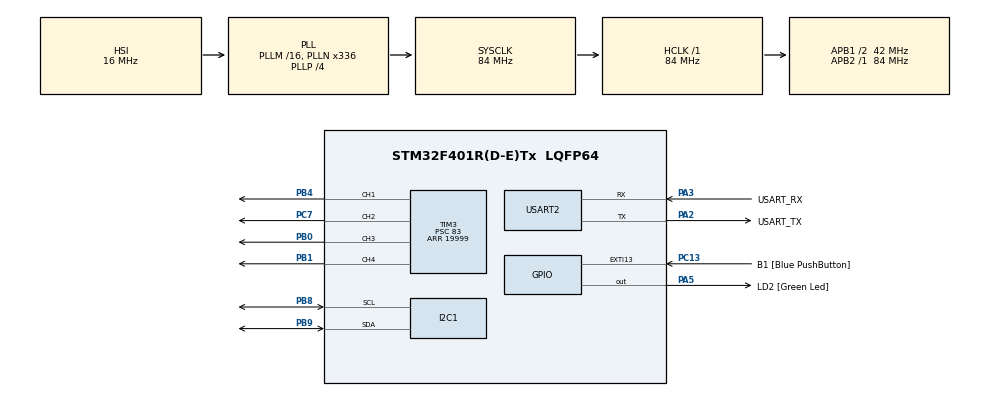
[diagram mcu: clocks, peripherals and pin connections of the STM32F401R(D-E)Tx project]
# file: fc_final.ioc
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Mcu.Family=STM32F4
Mcu.Name=STM32F401R(D-E)Tx
Mcu.Package=LQFP64
NVIC.PriorityGroup=NVIC_PRIORITYGROUP_4
PA13.GPIO_Label=TMS
PA13.Mode=Trace_Asynchronous_SW
PA13.Signal=SYS_JTMS-SWDIO
PA14.GPIO_Label=TCK
PA14.Mode=Trace_Asynchronous_SW
PA14.Signal=SYS_JTCK-SWCLK
PA2.GPIO_Label=USART_TX
PA2.GPIO_Mode=GPIO_MODE_AF_PP
PA2.GPIO_PuPd=GPIO_NOPULL
PA2.GPIO_Speed=GPIO_SPEED_FREQ_LOW
PA2.Mode=Asynchronous
PA2.Signal=USART2_TX
PA3.GPIO_Label=USART_RX
PA3.GPIO_Mode=GPIO_MODE_AF_PP
PA3.GPIO_PuPd=GPIO_NOPULL
PA3.GPIO_Speed=GPIO_SPEED_FREQ_LOW
PA3.Mode=Asynchronous
PA3.Signal=USART2_RX
PA5.GPIO_Label=LD2 [Green Led]
PA5.GPIO_Mode=GPIO_MODE_OUTPUT_PP
PA5.GPIO_PuPd=GPIO_NOPULL
PA5.GPIO_Speed=GPIO_SPEED_FREQ_LOW
PA5.Signal=GPIO_Output
PB0.Signal=S_TIM3_CH3
PB1.Signal=S_TIM3_CH4
PB3.GPIO_Label=SWO
PB3.Mode=Trace_Asynchronous_SW
PB3.Signal=SYS_JTDO-SWO
PB4.Signal=S_TIM3_CH1
PB8.Mode=I2C
PB8.Signal=I2C1_SCL
PB9.Mode=I2C
PB9.Signal=I2C1_SDA
PC13-ANTI_TAMP.GPIO_Label=B1 [Blue PushButton]
PC13-ANTI_TAMP.GPIO_ModeDefaultEXTI=GPIO_MODE_IT_FALLING
PC13-ANTI_TAMP.GPIO_PuPd=GPIO_NOPULL
PC13-ANTI_TAMP.Signal=GPXTI13
PC14-OSC32_IN.Mode=LSE-External-Oscillator
PC14-OSC32_IN.Signal=RCC_OSC32_IN
PC15-OSC32_OUT.Mode=LSE-External-Oscillator
PC15-OSC32_OUT.Signal=RCC_OSC32_OUT
PC7.Signal=S_TIM3_CH2
PH0\ -\ OSC_IN.Mode=HSE-External-Clock-Source
PH0\ -\ OSC_IN.Signal=RCC_OSC_IN
PH1\ -\ OSC_OUT.Mode=HSE-External-Clock-Source
PH1\ -\ OSC_OUT.Signal=RCC_OSC_OUT
ProjectManager.HeapSize=0x200
ProjectManager.StackSize=0x400
ProjectManager.TargetToolchain=STM32CubeIDE
RCC.48MHZClocksFreq_Value=48000000
RCC.AHBFreq_Value=84000000
RCC.APB1CLKDivider=RCC_HCLK_DIV2
RCC.APB1Freq_Value=42000000
RCC.APB1TimFreq_Value=84000000
RCC.APB2Freq_Value=84000000
RCC.APB2TimFreq_Value=84000000
RCC.CortexFreq_Value=84000000
RCC.HCLKFreq_Value=84000000
RCC.HSE_VALUE=8000000
RCC.HSI_VALUE=16000000
RCC.PLLN=336
RCC.PLLP=RCC_PLLP_DIV4
RCC.PLLQ=7
RCC.SYSCLKFreq_VALUE=84000000
RCC.SYSCLKSource=RCC_SYSCLKSOURCE_PLLCLK
RCC.VCOOutputFreq_Value=336000000
SH.S_TIM3_CH1.0=TIM3_CH1,PWM Generation1 CH1
SH.S_TIM3_CH2.0=TIM3_CH2,PWM Generation2 CH2
SH.S_TIM3_CH3.0=TIM3_CH3,PWM Generation3 CH3
SH.S_TIM3_CH4.0=TIM3_CH4,PWM Generation4 CH4
TIM3.Channel-PWM\ Generation1\ CH1=TIM_CHANNEL_1
TIM3.Channel-PWM\ Generation2\ CH2=TIM_CHANNEL_2
TIM3.Channel-PWM\ Generation3\ CH3=TIM_CHANNEL_3
TIM3.Channel-PWM\ Generation4\ CH4=TIM_CHANNEL_4
TIM3.Period=19999
TIM3.Prescaler=83
USART2.VirtualMode=VM_ASYNC
VP_TIM3_VS_ClockSourceINT.Mode=Internal
board=NUCLEO-F401RE

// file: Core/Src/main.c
/* USER CODE BEGIN Header */
/**
  ******************************************************************************
  * @file           : main.c
  * @brief          : Main program body
  ******************************************************************************
  * @attention
  *
  * Copyright (c) 2026 STMicroelectronics.
  * All rights reserved.
  *
  * This software is licensed under terms that can be found in the LICENSE file
  * in the root directory of this software component.
  * If no LICENSE file comes with this software, it is provided AS-IS.
  *
  ******************************************************************************
  */
/* USER CODE END Header */
#include "main.h"

/* USER CODE BEGIN Includes */
#include <stdio.h>
#include <string.h>
#include <math.h>
/* USER CODE END Includes */

/* USER CODE BEGIN PD */
/* LSM6DSO Registers */
#define LSM6DSO_REG_WHO_AM_I   0x0F
#define LSM6DSO_CHIP_ID        0x6C
#define LSM6DSO_REG_CTRL1_XL   0x10
#define LSM6DSO_REG_CTRL2_G    0x11
#define LSM6DSO_REG_CTRL3_C    0x12
#define LSM6DSO_REG_OUTX_L_G   0x22
#define LSM6DSO_REG_OUTX_L_A   0x28

/* BMP581 Registers */
#define BMP581_REG_CHIP_ID     0x01
#define BMP581_CHIP_ID         0x50
#define BMP581_REG_TEMP_DATA   0x1D
#define BMP581_REG_PRESS_DATA  0x20
#define BMP581_REG_OSR_CONFIG  0x36
#define BMP581_REG_ODR_CONFIG  0x37

/* BMM150 Registers */
#define BMM150_REG_CHIP_ID     0x40
#define BMM150_CHIP_ID         0x32
#define BMM150_REG_DATA_X_LSB  0x42
#define BMM150_REG_POWER       0x4B
#define BMM150_REG_OP_MODE     0x4C
#define BMM150_REG_REP_XY      0x51
#define BMM150_REG_REP_Z       0x52
/* USER CODE END PD */

I2C_HandleTypeDef hi2c1;

TIM_HandleTypeDef htim3;

UART_HandleTypeDef huart2;

/* USER CODE BEGIN PV */
/* LSM6DSO variables */
HAL_StatusTypeDef lsm6a_status;
HAL_StatusTypeDef lsm6b_status;
HAL_StatusTypeDef lsm_id_status;
uint8_t motors_armed = 0;
uint8_t lsm6dso_address = 0;
uint8_t lsm6dso_chip_id;

/* BMP581 variables */
HAL_StatusTypeDef bmp46_status;
HAL_StatusTypeDef bmp47_status;
HAL_StatusTypeDef bmp_id_status;
uint8_t bmp581_address;
uint8_t bmp581_chip_id;

/* BMM150 variables */
HAL_StatusTypeDef bmm10_status;
HAL_StatusTypeDef bmm11_status;
HAL_StatusTypeDef bmm12_status;
HAL_StatusTypeDef bmm13_status;
HAL_StatusTypeDef bmm_power_status;
HAL_StatusTypeDef bmm_id_status;
uint8_t bmm150_address;
uint8_t bmm150_chip_id;

/* Summary status */
uint8_t all_sensors_detected;

/* Live sensor measurement variables */
int16_t accel_raw_x, accel_raw_y, accel_raw_z;
int16_t gyro_raw_x, gyro_raw_y, gyro_raw_z;
int16_t mag_raw_x, mag_raw_y, mag_raw_z;

int32_t temp_raw;
uint32_t press_raw;
float press_hpa;
float temp_c;

/* UART Transmit buffer */
char uart_tx_buf[512];
/* USER CODE END PV */

void SystemClock_Config(void);
static void MX_GPIO_Init(void);
static void MX_I2C1_Init(void);
static void MX_TIM3_Init(void);
static void MX_USART2_UART_Init(void);

/* USER CODE BEGIN PFP */
void Motor_SetPWM(float m1, float m2, float m3, float m4);
void Motor_Mixer(float throttle,
                 float roll_output,
                 float pitch_output,
                 float yaw_output);
/* USER CODE END PFP */

/* USER CODE BEGIN 0 */
/* LSM6DSO registers */
#define LSM6DSO_WHO_AM_I      0x0F
#define LSM6DSO_CTRL1_XL      0x10
#define LSM6DSO_CTRL2_G       0x11
#define LSM6DSO_CTRL3_C       0x12

#define LSM6DSO_OUTX_L_G      0x22
#define LSM6DSO_OUTX_L_A      0x28

#define LSM6DSO_WHO_AM_I_VAL  0x6C

int16_t accel_x, accel_y, accel_z;
int16_t gyro_x, gyro_y, gyro_z;

float ax_g, ay_g, az_g;
float gx_dps, gy_dps, gz_dps;
float roll = 0.0f;
float pitch = 0.0f;

float accel_roll = 0.0f;
float accel_pitch = 0.0f;

uint32_t last_time = 0;
float dt = 0.0f;
PID_Controller roll_rate_pid =
{
    .Kp = 0.8f,
    .Ki = 0.0f,
    .Kd = 0.02f,
    .integral = 0.0f,
    .previous_error = 0.0f,
    .output = 0.0f,
    .integral_limit = 50.0f,
    .output_limit = 100.0f
};

PID_Controller pitch_rate_pid =
{
    .Kp = 0.8f,
    .Ki = 0.0f,
    .Kd = 0.02f,
    .integral = 0.0f,
    .previous_error = 0.0f,
    .output = 0.0f,
    .integral_limit = 50.0f,
    .output_limit = 100.0f
};

float desired_roll_rate = 0.0f;
float desired_pitch_rate = 0.0f;

float roll_rate_output = 0.0f;
float pitch_rate_output = 0.0f;
float throttle = 0.5f;

float yaw_output = 0.0f;

float motor1 = 0.0f;
float motor2 = 0.0f;
float motor3 = 0.0f;
float motor4 = 0.0f;

/* Find LSM6DSO */
uint8_t LSM6DSO_Detect(void)
{
    uint8_t who = 0;

    if (HAL_I2C_IsDeviceReady(&hi2c1, (0x6A << 1), 3, 100) == HAL_OK)
    {
        if (HAL_I2C_Mem_Read(&hi2c1,
                             (0x6A << 1),
                             LSM6DSO_WHO_AM_I,
                             I2C_MEMADD_SIZE_8BIT,
                             &who,
                             1,
                             100) == HAL_OK)
        {
            if (who == LSM6DSO_WHO_AM_I_VAL)
            {
                lsm6dso_address = 0x6A;
                return 1;
            }
        }
    }

    if (HAL_I2C_IsDeviceReady(&hi2c1, (0x6B << 1), 3, 100) == HAL_OK)
    {
        if (HAL_I2C_Mem_Read(&hi2c1,
                             (0x6B << 1),
                             LSM6DSO_WHO_AM_I,
                             I2C_MEMADD_SIZE_8BIT,
                             &who,
                             1,
                             100) == HAL_OK)
        {
            if (who == LSM6DSO_WHO_AM_I_VAL)
            {
                lsm6dso_address = 0x6B;
                return 1;
            }
        }
    }

    return 0;
}

/* Initialize accelerometer and gyro */
HAL_StatusTypeDef LSM6DSO_Init(void)
{
    uint8_t ctrl3 = 0x44;
    uint8_t ctrl1_xl = 0x40;
    uint8_t ctrl2_g = 0x40;

    HAL_StatusTypeDef status;

    /* CTRL3_C:
       BDU = 1
       IF_INC = 1
    */
    status = HAL_I2C_Mem_Write(&hi2c1,
                               (lsm6dso_address << 1),
                               LSM6DSO_CTRL3_C,
                               I2C_MEMADD_SIZE_8BIT,
                               &ctrl3,
                               1,
                               100);

    if (status != HAL_OK)
        return status;

    /* Accelerometer:
       ODR = 104 Hz
       Full scale = +/-2g
    */
    status = HAL_I2C_Mem_Write(&hi2c1,
                               (lsm6dso_address << 1),
                               LSM6DSO_CTRL1_XL,
                               I2C_MEMADD_SIZE_8BIT,
                               &ctrl1_xl,
                               1,
                               100);

    if (status != HAL_OK)
        return status;

    /* Gyroscope:
       ODR = 104 Hz
       Full scale = +/-250 dps
    */
    status = HAL_I2C_Mem_Write(&hi2c1,
                               (lsm6dso_address << 1),
                               LSM6DSO_CTRL2_G,
                               I2C_MEMADD_SIZE_8BIT,
                               &ctrl2_g,
                               1,
                               100);

    HAL_Delay(100);

    return status;
}

/* Read accelerometer */
HAL_StatusTypeDef LSM6DSO_ReadAccel(void)
{
    uint8_t data[6];

    HAL_StatusTypeDef status;

    status = HAL_I2C_Mem_Read(&hi2c1,
                              (lsm6dso_address << 1),
                              LSM6DSO_OUTX_L_A,
                              I2C_MEMADD_SIZE_8BIT,
                              data,
                              6,
                              100);

    if (status != HAL_OK)
        return status;

    accel_x = (int16_t)((data[1] << 8) | data[0]);
    accel_y = (int16_t)((data[3] << 8) | data[2]);
    accel_z = (int16_t)((data[5] << 8) | data[4]);

    /* +/-2g = 0.061 mg/LSB */
    ax_g = accel_x * 0.000061f;
    ay_g = accel_y * 0.000061f;
    az_g = accel_z * 0.000061f;

    return HAL_OK;
}

/* Read gyroscope */
HAL_StatusTypeDef LSM6DSO_ReadGyro(void)
{
    uint8_t data[6];

    HAL_StatusTypeDef status;

    status = HAL_I2C_Mem_Read(&hi2c1,
                              (lsm6dso_address << 1),
                              LSM6DSO_OUTX_L_G,
                              I2C_MEMADD_SIZE_8BIT,
                              data,
                              6,
                              100);

    if (status != HAL_OK)
        return status;

    gyro_x = (int16_t)((data[1] << 8) | data[0]);
    gyro_y = (int16_t)((data[3] << 8) | data[2]);
    gyro_z = (int16_t)((data[5] << 8) | data[4]);

    /* +/-250 dps = 8.75 mdps/LSB */
    gx_dps = gyro_x * 0.00875f;
    gy_dps = gyro_y * 0.00875f;
    gz_dps = gyro_z * 0.00875f;

    return HAL_OK;
}
void Calculate_Attitude(void)
{
    uint32_t current_time;

    /* Get elapsed time in seconds */
    current_time = HAL_GetTick();

    if (last_time == 0)
    {
        last_time = current_time;
        return;
    }

    dt = (current_time - last_time) / 1000.0f;
    last_time = current_time;

    /* Prevent abnormal dt */
    if (dt <= 0.0f || dt > 0.5f)
    {
        return;
    }

    /*
     * Accelerometer-based angles
     *
     * Roll  = rotation around X
     * Pitch = rotation around Y
     */
    accel_roll =
        atan2f(-ay_g, -az_g) * 57.2957795f;

    accel_pitch =
        atan2f(-ax_g,
               sqrtf(ay_g * ay_g + az_g * az_g))
        * 57.2957795f;

    /*
     * Gyroscope integration
     */
    roll += gx_dps * dt;
    pitch += gy_dps * dt;

    /*
     * Complementary filter
     *
     * Gyroscope:
     *   fast response, but drifts
     *
     * Accelerometer:
     *   stable long-term reference,
     *   but noisy during movement
     */
    roll =
        0.98f * roll +
        0.02f * accel_roll;

    pitch =
        0.98f * pitch +
        0.02f * accel_pitch;
}
PID_Controller roll_angle_pid =
{
    .Kp = 2.0f,
    .Ki = 0.0f,
    .Kd = 0.05f,
    .integral = 0.0f,
    .previous_error = 0.0f,
    .output = 0.0f,
    .integral_limit = 50.0f,
    .output_limit = 200.0f
};

PID_Controller pitch_angle_pid =
{
    .Kp = 2.0f,
    .Ki = 0.0f,
    .Kd = 0.05f,
    .integral = 0.0f,
    .previous_error = 0.0f,
    .output = 0.0f,
    .integral_limit = 50.0f,
    .output_limit = 200.0f
};

float PID_Update(PID_Controller *pid,
                 float target,
                 float actual,
                 float dt)
{
    if (pid == NULL)
    {
        return 0.0f;
    }

    /* Prevent division by zero or abnormal dt */
    if (dt <= 0.0001f)
    {
        return pid->output;
    }

    float error = target - actual;

    /* Integral with anti-windup clamping */
    pid->integral += error * dt;

    float int_limit = (pid->integral_limit > 0.0f) ? pid->integral_limit : 100.0f;
    if (pid->integral > int_limit)
    {
        pid->integral = int_limit;
    }
    else if (pid->integral < -int_limit)
    {
        pid->integral = -int_limit;
    }

    /* Derivative */
    float derivative = (error - pid->previous_error) / dt;
    pid->previous_error = error;

    /* PID output */
    pid->output =
        (pid->Kp * error) +
        (pid->Ki * pid->integral) +
        (pid->Kd * derivative);

    /* Limit output */
    float out_limit = (pid->output_limit > 0.0f) ? pid->output_limit : 100.0f;
    if (pid->output > out_limit)
    {
        pid->output = out_limit;
    }
    else if (pid->output < -out_limit)
    {
        pid->output = -out_limit;
    }

    return pid->output;
}

void PID_Reset(PID_Controller *pid)
{
    if (pid == NULL)
    {
        return;
    }
    pid->integral = 0.0f;
    pid->previous_error = 0.0f;
    pid->output = 0.0f;
}
/* USER CODE END 0 */

int main(void)
{

  /* MCU Configuration--------------------------------------------------------*/

  /* Reset of all peripherals, Initializes the Flash interface and the Systick. */
  HAL_Init();

  /* Configure the system clock */
  SystemClock_Config();

  /* Initialize all configured peripherals */
  MX_GPIO_Init();
  MX_I2C1_Init();
  MX_TIM3_Init();
  MX_USART2_UART_Init();

  /* USER CODE BEGIN 2 */
  HAL_TIM_PWM_Start(&htim3, TIM_CHANNEL_1);
  HAL_TIM_PWM_Start(&htim3, TIM_CHANNEL_2);
  HAL_TIM_PWM_Start(&htim3, TIM_CHANNEL_3);
  HAL_TIM_PWM_Start(&htim3, TIM_CHANNEL_4);
  __HAL_TIM_SET_COMPARE(&htim3, TIM_CHANNEL_1, 1000);
  __HAL_TIM_SET_COMPARE(&htim3, TIM_CHANNEL_2, 1000);
  __HAL_TIM_SET_COMPARE(&htim3, TIM_CHANNEL_3, 1000);
  __HAL_TIM_SET_COMPARE(&htim3, TIM_CHANNEL_4, 1000);
  char msg[128];
  int len;

  uint8_t lsm_id = 0;
  uint8_t bmp_id = 0;
  uint8_t bmm_id = 0;

  uint8_t lsm_addr = 0;
  uint8_t bmp_addr = 0;
  uint8_t bmm_addr = 0;

  HAL_Delay(100);

  /* ================================
   * LSM6DSO
   * ================================ */

  if (HAL_I2C_IsDeviceReady(&hi2c1, (0x6A << 1), 3, 100) == HAL_OK)
  {
      lsm_addr = 0x6A;
  }
  else if (HAL_I2C_IsDeviceReady(&hi2c1, (0x6B << 1), 3, 100) == HAL_OK)
  {
      lsm_addr = 0x6B;
  }

  if (lsm_addr != 0)
  {
      HAL_I2C_Mem_Read(&hi2c1,
                       (lsm_addr << 1),
                       0x0F,
                       I2C_MEMADD_SIZE_8BIT,
                       &lsm_id,
                       1,
                       100);
  }

  /* ================================
   * BMP581
   * ================================ */

  if (HAL_I2C_IsDeviceReady(&hi2c1, (0x46 << 1), 3, 100) == HAL_OK)
  {
      bmp_addr = 0x46;
  }
  else if (HAL_I2C_IsDeviceReady(&hi2c1, (0x47 << 1), 3, 100) == HAL_OK)
  {
      bmp_addr = 0x47;
  }

  if (bmp_addr != 0)
  {
      HAL_I2C_Mem_Read(&hi2c1,
                       (bmp_addr << 1),
                       0x01,
                       I2C_MEMADD_SIZE_8BIT,
                       &bmp_id,
                       1,
                       100);
  }

  /* ================================
   * BMM150
   * ================================ */

  if (HAL_I2C_IsDeviceReady(&hi2c1, (0x10 << 1), 3, 100) == HAL_OK)
  {
      bmm_addr = 0x10;
  }
  else if (HAL_I2C_IsDeviceReady(&hi2c1, (0x11 << 1), 3, 100) == HAL_OK)
  {
      bmm_addr = 0x11;
  }
  else if (HAL_I2C_IsDeviceReady(&hi2c1, (0x12 << 1), 3, 100) == HAL_OK)
  {
      bmm_addr = 0x12;
  }
  else if (HAL_I2C_IsDeviceReady(&hi2c1, (0x13 << 1), 3, 100) == HAL_OK)
  {
      bmm_addr = 0x13;
  }

  if (bmm_addr != 0)
  {
      uint8_t power = 0x01;

      HAL_I2C_Mem_Write(&hi2c1,
                        (bmm_addr << 1),
                        0x4B,
                        I2C_MEMADD_SIZE_8BIT,
                        &power,
                        1,
                        100);

      HAL_Delay(10);

      HAL_I2C_Mem_Read(&hi2c1,
                       (bmm_addr << 1),
                       0x40,
                       I2C_MEMADD_SIZE_8BIT,
                       &bmm_id,
                       1,
                       100);
  }
  lsm6dso_address = lsm_addr;
  bmp581_address = bmp_addr;
  bmm150_address = bmm_addr;

  /* Initialize LSM6DSO */
  if (lsm6dso_address != 0)
  {
      uint8_t ctrl3 = 0x44;   // BDU + IF_INC
      uint8_t ctrl1 = 0x40;   // Accelerometer: 104 Hz, ±2g
      uint8_t ctrl2 = 0x40;   // Gyroscope: 104 Hz, ±250 dps

      HAL_I2C_Mem_Write(&hi2c1,
                        (lsm6dso_address << 1),
                        LSM6DSO_REG_CTRL3_C,
                        I2C_MEMADD_SIZE_8BIT,
                        &ctrl3, 1, 100);

      HAL_I2C_Mem_Write(&hi2c1,
                        (lsm6dso_address << 1),
                        LSM6DSO_REG_CTRL1_XL,
                        I2C_MEMADD_SIZE_8BIT,
                        &ctrl1, 1, 100);

      HAL_I2C_Mem_Write(&hi2c1,
                        (lsm6dso_address << 1),
                        LSM6DSO_REG_CTRL2_G,
                        I2C_MEMADD_SIZE_8BIT,
                        &ctrl2, 1, 100);

      HAL_Delay(100);
  }
  /* ================================
   * PRINT RESULTS
   * ================================ */

  len = snprintf(msg, sizeof(msg),
                 "\r\nLSM6DSO: addr=0x%02X ID=0x%02X %s\r\n",
                 lsm_addr,
                 lsm_id,
                 (lsm_id == 0x6C) ? "OK" : "FAIL");

  HAL_UART_Transmit(&huart2,
                    (uint8_t *)msg,
                    len,
                    1000);

  len = snprintf(msg, sizeof(msg),
                 "BMP581 : addr=0x%02X ID=0x%02X %s\r\n",
                 bmp_addr,
                 bmp_id,
                 (bmp_id == 0x50) ? "OK" : "FAIL");

  HAL_UART_Transmit(&huart2,
                    (uint8_t *)msg,
                    len,
                    1000);

  len = snprintf(msg, sizeof(msg),
                 "BMM150 : addr=0x%02X ID=0x%02X %s\r\n",
                 bmm_addr,
                 bmm_id,
                 (bmm_id == 0x32) ? "OK" : "FAIL");

  HAL_UART_Transmit(&huart2,
                    (uint8_t *)msg,
                    len,
                    1000);

  len = snprintf(msg, sizeof(msg),
                 "-----------------------------\r\n");

  HAL_UART_Transmit(&huart2,
                    (uint8_t *)msg,
                    len,
                    1000);

  /* USER CODE END 2 */

  /* Infinite loop */
  /* USER CODE BEGIN WHILE */
  while (1)
  {
      if (lsm6dso_address != 0)
      {
          LSM6DSO_ReadAccel();
          LSM6DSO_ReadGyro();

          Calculate_Attitude();
          float roll_target = 0.0f;
          float pitch_target = 0.0f;

          /* Cascade PID:
           * 1) Angle PID (outer loop): angle error -> desired angular rate
           * 2) Gyro Rate PID (inner loop): rate error -> PID rate correction
           */
          desired_roll_rate =
              PID_Update(&roll_angle_pid,
                         roll_target,
                         roll,
                         dt);

          desired_pitch_rate =
              PID_Update(&pitch_angle_pid,
                         pitch_target,
                         pitch,
                         dt);

          roll_rate_output =
              PID_Update(&roll_rate_pid,
                         desired_roll_rate,
                         gx_dps,
                         dt);

          pitch_rate_output =
              PID_Update(&pitch_rate_pid,
                         desired_pitch_rate,
                         gy_dps,
                         dt);
          Motor_Mixer(throttle,
                      roll_rate_output / 100.0f,
                      pitch_rate_output / 100.0f,
                      yaw_output);
          if (motors_armed)
          {
              Motor_SetPWM(motor1, motor2, motor3, motor4);
          }
          else
          {
              Motor_SetPWM(0.0f, 0.0f, 0.0f, 0.0f);
          }

          float roll_correction = roll_rate_output;
          float pitch_correction = pitch_rate_output;

          snprintf(uart_tx_buf, sizeof(uart_tx_buf),
                   "R:%.1f P:%.1f | "
                   "M1:%.3f M2:%.3f M3:%.3f M4:%.3f\r\n",
                   roll,
                   pitch,
                   motor1,
                   motor2,
                   motor3,
                   motor4);

          HAL_UART_Transmit(&huart2,
                            (uint8_t *)uart_tx_buf,
                            strlen(uart_tx_buf),
                            1000);
      }

      HAL_Delay(10);
  }
    /* USER CODE END WHILE */

}

void SystemClock_Config(void)
{
  RCC_OscInitTypeDef RCC_OscInitStruct = {0};
  RCC_ClkInitTypeDef RCC_ClkInitStruct = {0};

  /** Configure the main internal regulator output voltage
  */
  __HAL_RCC_PWR_CLK_ENABLE();
  __HAL_PWR_VOLTAGESCALING_CONFIG(PWR_REGULATOR_VOLTAGE_SCALE2);

  /** Initializes the RCC Oscillators according to the specified parameters
  * in the RCC_OscInitTypeDef structure.
  */
  RCC_OscInitStruct.OscillatorType = RCC_OSCILLATORTYPE_HSI;
  RCC_OscInitStruct.HSIState = RCC_HSI_ON;
  RCC_OscInitStruct.HSICalibrationValue = RCC_HSICALIBRATION_DEFAULT;
  RCC_OscInitStruct.PLL.PLLState = RCC_PLL_ON;
  RCC_OscInitStruct.PLL.PLLSource = RCC_PLLSOURCE_HSI;
  RCC_OscInitStruct.PLL.PLLM = 16;
  RCC_OscInitStruct.PLL.PLLN = 336;
  RCC_OscInitStruct.PLL.PLLP = RCC_PLLP_DIV4;
  RCC_OscInitStruct.PLL.PLLQ = 7;
  if (HAL_RCC_OscConfig(&RCC_OscInitStruct) != HAL_OK)
  {
    Error_Handler();
  }

  /** Initializes the CPU, AHB and APB buses clocks
  */
  RCC_ClkInitStruct.ClockType = RCC_CLOCKTYPE_HCLK|RCC_CLOCKTYPE_SYSCLK
                              |RCC_CLOCKTYPE_PCLK1|RCC_CLOCKTYPE_PCLK2;
  RCC_ClkInitStruct.SYSCLKSource = RCC_SYSCLKSOURCE_PLLCLK;
  RCC_ClkInitStruct.AHBCLKDivider = RCC_SYSCLK_DIV1;
  RCC_ClkInitStruct.APB1CLKDivider = RCC_HCLK_DIV2;
  RCC_ClkInitStruct.APB2CLKDivider = RCC_HCLK_DIV1;

  if (HAL_RCC_ClockConfig(&RCC_ClkInitStruct, FLASH_LATENCY_2) != HAL_OK)
  {
    Error_Handler();
  }
}

static void MX_I2C1_Init(void)
{

  hi2c1.Instance = I2C1;
  hi2c1.Init.ClockSpeed = 100000;
  hi2c1.Init.DutyCycle = I2C_DUTYCYCLE_2;
  hi2c1.Init.OwnAddress1 = 0;
  hi2c1.Init.AddressingMode = I2C_ADDRESSINGMODE_7BIT;
  hi2c1.Init.DualAddressMode = I2C_DUALADDRESS_DISABLE;
  hi2c1.Init.OwnAddress2 = 0;
  hi2c1.Init.GeneralCallMode = I2C_GENERALCALL_DISABLE;
  hi2c1.Init.NoStretchMode = I2C_NOSTRETCH_DISABLE;
  if (HAL_I2C_Init(&hi2c1) != HAL_OK)
  {
    Error_Handler();
  }

}

static void MX_TIM3_Init(void)
{

  TIM_ClockConfigTypeDef sClockSourceConfig = {0};
  TIM_MasterConfigTypeDef sMasterConfig = {0};
  TIM_OC_InitTypeDef sConfigOC = {0};

  htim3.Instance = TIM3;
  htim3.Init.Prescaler = 83;
  htim3.Init.CounterMode = TIM_COUNTERMODE_UP;
  htim3.Init.Period = 19999;
  htim3.Init.ClockDivision = TIM_CLOCKDIVISION_DIV1;
  htim3.Init.AutoReloadPreload = TIM_AUTORELOAD_PRELOAD_DISABLE;
  if (HAL_TIM_Base_Init(&htim3) != HAL_OK)
  {
    Error_Handler();
  }
  sClockSourceConfig.ClockSource = TIM_CLOCKSOURCE_INTERNAL;
  if (HAL_TIM_ConfigClockSource(&htim3, &sClockSourceConfig) != HAL_OK)
  {
    Error_Handler();
  }
  if (HAL_TIM_PWM_Init(&htim3) != HAL_OK)
  {
    Error_Handler();
  }
  sMasterConfig.MasterOutputTrigger = TIM_TRGO_RESET;
  sMasterConfig.MasterSlaveMode = TIM_MASTERSLAVEMODE_DISABLE;
  if (HAL_TIMEx_MasterConfigSynchronization(&htim3, &sMasterConfig) != HAL_OK)
  {
    Error_Handler();
  }
  sConfigOC.OCMode = TIM_OCMODE_PWM1;
  sConfigOC.Pulse = 0;
  sConfigOC.OCPolarity = TIM_OCPOLARITY_HIGH;
  sConfigOC.OCFastMode = TIM_OCFAST_DISABLE;
  if (HAL_TIM_PWM_ConfigChannel(&htim3, &sConfigOC, TIM_CHANNEL_1) != HAL_OK)
  {
    Error_Handler();
  }
  if (HAL_TIM_PWM_ConfigChannel(&htim3, &sConfigOC, TIM_CHANNEL_2) != HAL_OK)
  {
    Error_Handler();
  }
  if (HAL_TIM_PWM_ConfigChannel(&htim3, &sConfigOC, TIM_CHANNEL_3) != HAL_OK)
  {
    Error_Handler();
  }
  if (HAL_TIM_PWM_ConfigChannel(&htim3, &sConfigOC, TIM_CHANNEL_4) != HAL_OK)
  {
    Error_Handler();
  }
  HAL_TIM_MspPostInit(&htim3);

}

static void MX_USART2_UART_Init(void)
{

  huart2.Instance = USART2;
  huart2.Init.BaudRate = 115200;
  huart2.Init.WordLength = UART_WORDLENGTH_8B;
  huart2.Init.StopBits = UART_STOPBITS_1;
  huart2.Init.Parity = UART_PARITY_NONE;
  huart2.Init.Mode = UART_MODE_TX_RX;
  huart2.Init.HwFlowCtl = UART_HWCONTROL_NONE;
  huart2.Init.OverSampling = UART_OVERSAMPLING_16;
  if (HAL_UART_Init(&huart2) != HAL_OK)
  {
    Error_Handler();
  }

}

static void MX_GPIO_Init(void)
{
  GPIO_InitTypeDef GPIO_InitStruct = {0};

  /* GPIO Ports Clock Enable */
  __HAL_RCC_GPIOC_CLK_ENABLE();
  __HAL_RCC_GPIOH_CLK_ENABLE();
  __HAL_RCC_GPIOA_CLK_ENABLE();
  __HAL_RCC_GPIOB_CLK_ENABLE();

  /*Configure GPIO pin Output Level */
  HAL_GPIO_WritePin(LD2_GPIO_Port, LD2_Pin, GPIO_PIN_RESET);

  /*Configure GPIO pin : B1_Pin */
  GPIO_InitStruct.Pin = B1_Pin;
  GPIO_InitStruct.Mode = GPIO_MODE_IT_FALLING;
  GPIO_InitStruct.Pull = GPIO_NOPULL;
  HAL_GPIO_Init(B1_GPIO_Port, &GPIO_InitStruct);

  /*Configure GPIO pin : LD2_Pin */
  GPIO_InitStruct.Pin = LD2_Pin;
  GPIO_InitStruct.Mode = GPIO_MODE_OUTPUT_PP;
  GPIO_InitStruct.Pull = GPIO_NOPULL;
  GPIO_InitStruct.Speed = GPIO_SPEED_FREQ_LOW;
  HAL_GPIO_Init(LD2_GPIO_Port, &GPIO_InitStruct);

}

/* USER CODE BEGIN 4 */
void Motor_SetPWM(float m1, float m2, float m3, float m4)
{
    uint16_t pwm1 = 1000 + (uint16_t)(m1 * 1000.0f);
    uint16_t pwm2 = 1000 + (uint16_t)(m2 * 1000.0f);
    uint16_t pwm3 = 1000 + (uint16_t)(m3 * 1000.0f);
    uint16_t pwm4 = 1000 + (uint16_t)(m4 * 1000.0f);

    __HAL_TIM_SET_COMPARE(&htim3, TIM_CHANNEL_1, pwm1);
    __HAL_TIM_SET_COMPARE(&htim3, TIM_CHANNEL_2, pwm3);
    __HAL_TIM_SET_COMPARE(&htim3, TIM_CHANNEL_3, pwm2);
    __HAL_TIM_SET_COMPARE(&htim3, TIM_CHANNEL_4, pwm4);
}
void Motor_Mixer(float throttle,
                 float roll_output,
                 float pitch_output,
                 float yaw_output)
{
    motor1 = throttle + roll_output + pitch_output - yaw_output;
    motor2 = throttle - roll_output + pitch_output + yaw_output;
    motor3 = throttle - roll_output - pitch_output - yaw_output;
    motor4 = throttle + roll_output - pitch_output + yaw_output;

    if (motor1 > 1.0f) motor1 = 1.0f;
    if (motor1 < 0.0f) motor1 = 0.0f;

    if (motor2 > 1.0f) motor2 = 1.0f;
    if (motor2 < 0.0f) motor2 = 0.0f;

    if (motor3 > 1.0f) motor3 = 1.0f;
    if (motor3 < 0.0f) motor3 = 0.0f;

    if (motor4 > 1.0f) motor4 = 1.0f;
    if (motor4 < 0.0f) motor4 = 0.0f;
}
/* USER CODE END 4 */

void Error_Handler(void)
{
  __disable_irq();
  while (1)
  {
  }
}
